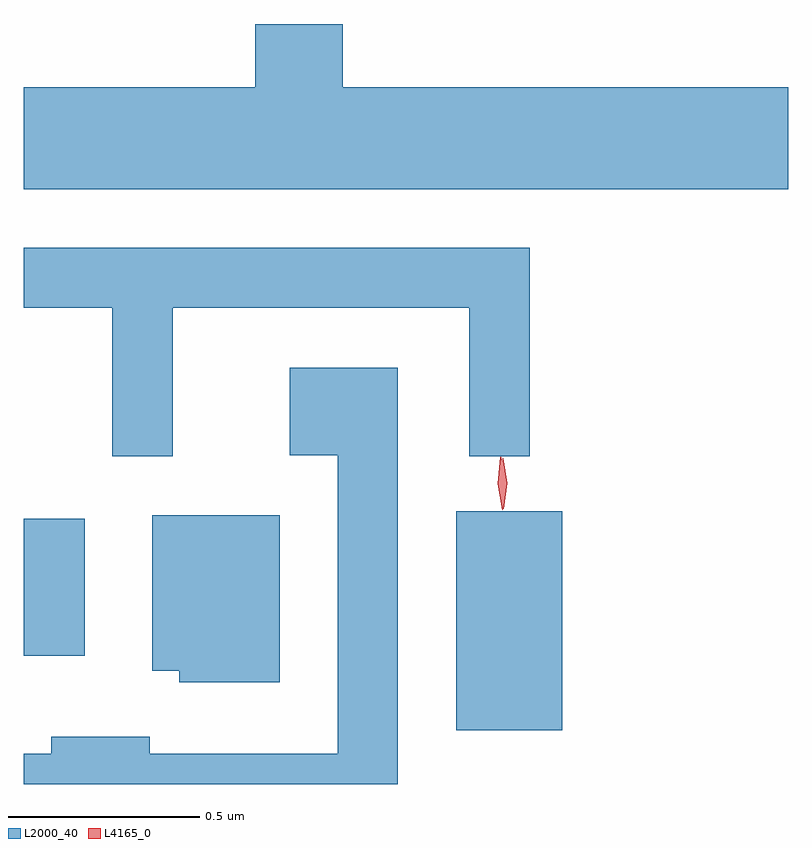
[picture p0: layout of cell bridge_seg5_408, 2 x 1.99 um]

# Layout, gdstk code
import gdstk
lib = gdstk.Library(unit=1e-6, precision=1e-09)
def R(c, l, rs):  # rectangles x0, y0, x1, y1
    for r in rs: c.add(gdstk.rectangle(r[:2], r[2:], *l))
def P(c, l, *ps):  # polygons
    for p in ps: c.add(gdstk.Polygon(p, *l))
L2000_40 = (2000, 40)
L4165_0 = (4165, 0)

bridge_seg5_408 = lib.new_cell('bridge_seg5_408')
R(bridge_seg5_408, L2000_40, [(546.736,1486.461,547.014,1487.034), (545.605,1486.656,545.764,1487.014)])
P(bridge_seg5_408, L2000_40, [(546.211,1488.309),(546.211,1488.144),(545.605,1488.144),(545.605,1487.876),(547.605,1487.876),(547.605,1488.144),(546.439,1488.144),(546.439,1488.309)],
  [(545.994,1487.566),(546.771,1487.566),(546.771,1487.178),(546.929,1487.178),(546.929,1487.724),(545.605,1487.724),(545.605,1487.566),(545.836,1487.566),(545.836,1487.178),(545.994,1487.178)],
  [(546.584,1487.409),(546.301,1487.409),(546.301,1487.181),(546.426,1487.181),(546.426,1486.399),(545.934,1486.399),(545.934,1486.444),(545.676,1486.444),(545.676,1486.399),(545.605,1486.399),(545.605,1486.32),(546.584,1486.32)],
  [(546.274,1487.024),(545.941,1487.024),(545.941,1486.616),(546.011,1486.616),(546.011,1486.586),(546.274,1486.586)])
P(bridge_seg5_408, L4165_0, [(546.857,1487.038),(546.857,1487.038),(546.845,1487.106),(546.852,1487.175),(546.853,1487.176),(546.854,1487.175),(546.865,1487.107),(546.858,1487.038)],
  [(546.86,1487.041),(546.85,1487.106),(546.858,1487.172),(546.858,1487.172),(546.859,1487.172),(546.87,1487.107),(546.861,1487.041),(546.861,1487.041)])

lib.write_gds('bridge_seg5_408.gds')
